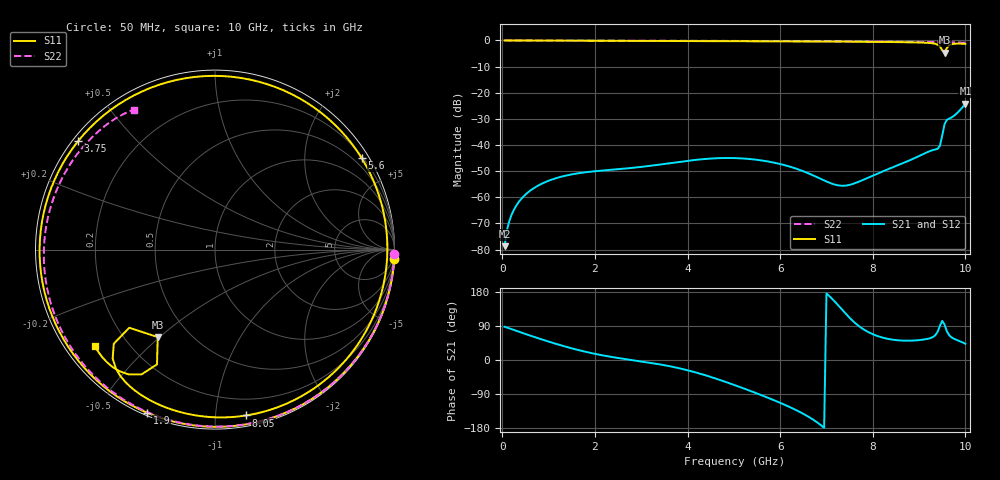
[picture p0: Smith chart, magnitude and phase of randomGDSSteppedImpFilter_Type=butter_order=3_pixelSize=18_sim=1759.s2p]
! freq	dB(S11)	phase(S11)	dB(S12)	phase(S12)
!  dB(S21)	phase(S21)	dB(S22)	phase(S22)
!S-par simulation data
#  GHz  S  DB  R 50
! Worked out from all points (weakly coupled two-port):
!   200 points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, 50 MHz to 10 GHz, reference 50 ohm
!   highest |S21| = -24.24 dB at 10 GHz (marker M1); lowest = -78.7 dB at 50 MHz (marker M2)
!   lowest |S11| = -4.7 dB at 9.55 GHz (marker M3), VSWR 3.79, Z = 16.7 - j24.6 ohm
!   |S11| at or under -10 dB: nowhere
!   |S22| runs from -0.9 to 0.0 dB; largest |S21 - S12| = 0
!   S11 on the Smith chart (normalised r, x): 50 MHz: 0, -37; 1.9 GHz: 0.01, -0.67; 3.75 GHz: 0.02, +0.35; 5.6 GHz: 0.25, +3.48; 8.05 GHz: 0.08, -1.20; 10 GHz: 0.09, -0.35
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0.05  -0.00 -3.1  -78.71 87.8  -78.71 87.8  -0.00 -1.3
0.2  -0.01 -12.3  -66.71 81.3  -66.71 81.3  -0.01 -5.0
0.5  -0.04 -30.5  -58.97 68.6  -58.97 68.6  -0.02 -12.5
1.15  -0.09 -69.2  -52.75 43.0  -52.75 43.0  -0.04 -28.5
1.75  -0.12 -104.0  -50.54 23.0  -50.54 23.0  -0.05 -43.1
1.9  -0.13 -112.5  -50.22 18.8  -50.22 18.8  -0.06 -46.7
2.7  -0.18 -157.7  -48.93 1.6  -48.93 1.6  -0.08 -65.4
3.4  -0.22 162.2  -47.49 -11.5  -47.49 -11.5  -0.11 -81.3
3.75  -0.24 141.7  -46.64 -19.9  -46.64 -19.9  -0.12 -89.0
4.4  -0.27 102.7  -45.31 -40.8  -45.31 -40.8  -0.15 -103.2
5.05  -0.30 63.7  -45.03 -67.7  -45.03 -67.7  -0.18 -117.1
5.6  -0.32 31.9  -45.91 -93.0  -45.91 -93.0  -0.21 -128.8
6.15  -0.35 2.4  -47.97 -121.0  -47.97 -121.0  -0.25 -140.6
6.7  -0.38 -24.3  -51.52 -156.4  -51.52 -156.4  -0.29 -152.5
7.35  -0.44 -52.4  -55.59 131.0  -55.59 131.0  -0.35 -167.0
8.05  -0.54 -79.3  -51.33 65.6  -51.33 65.6  -0.43 176.6
8.35  -0.59 -90.1  -49.13 55.2  -49.13 55.2  -0.47 169.2
9.05  -0.81 -115.4  -43.79 53.1  -43.79 53.1  -0.56 150.7
9.4  -1.59 -133.2  -41.46 74.2  -41.46 74.2  -0.63 140.5
9.55  -4.69 -123.2  -32.02 93.4  -32.02 93.4  -0.67 135.9
9.65  -1.86 -120.5  -29.89 65.3  -29.89 65.3  -0.69 132.7
10  -1.32 -141.1  -24.24 42.8  -24.24 42.8  -0.90 120.2
